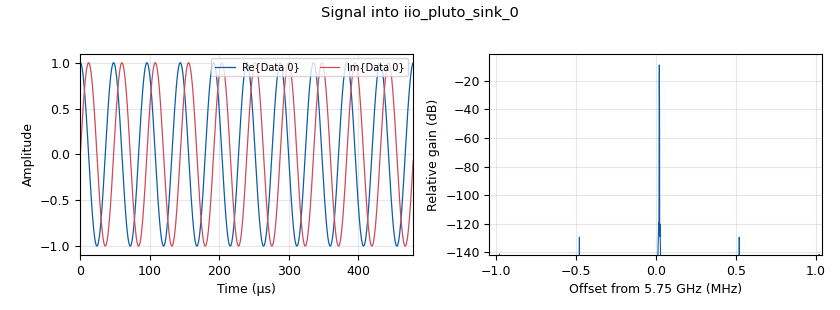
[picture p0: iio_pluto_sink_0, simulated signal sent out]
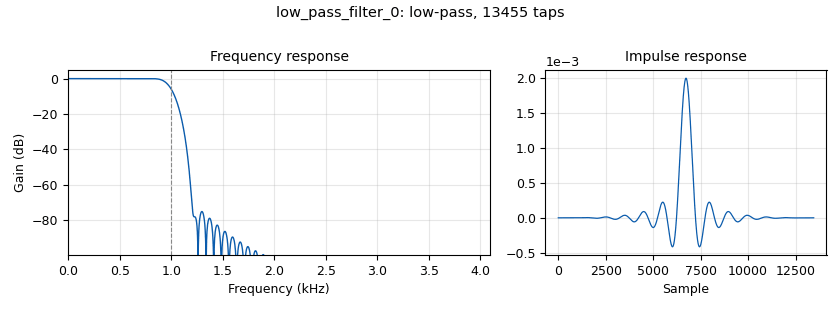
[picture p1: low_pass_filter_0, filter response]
options:
  parameters:
    generate_options: qt_gui
    id: top_block
    output_language: python
  states: {}

blocks:
- name: decim
  id: variable
  parameters:
    value: '2048'
  states: {}
- name: fft_size
  id: variable
  parameters:
    value: '2048'
  states: {}
- name: samp_rate
  id: variable
  parameters:
    value: '1000000'
  states: {}
- name: analog_agc_xx_0
  id: analog_agc_xx
  parameters:
    gain: '1.0'
    max_gain: '65536'
    rate: '1e-4'
    reference: '1.0'
    type: complex
  states: {}
- name: analog_agc_xx_0_0
  id: analog_agc_xx
  parameters:
    gain: '1.0'
    max_gain: '65536'
    rate: '1e-4'
    reference: '1.0'
    type: complex
  states: {}
- name: analog_sig_source_x_0
  id: analog_sig_source_x
  parameters:
    amp: '1'
    freq: 10e3
    offset: '0'
    phase: '0'
    samp_rate: samp_rate
    type: complex
    waveform: analog.GR_COS_WAVE
  states: {}
- name: blocks_complex_to_mag_0
  id: blocks_complex_to_mag
  parameters:
    vlen: fft_size
  states: {}
- name: blocks_complex_to_real_0
  id: blocks_complex_to_real
  parameters: {}
  states: {}
- name: blocks_complex_to_real_0_0
  id: blocks_complex_to_real
  parameters: {}
  states: {}
- name: blocks_complex_to_real_0_1
  id: blocks_complex_to_real
  parameters: {}
  states: {state: disabled}
- name: blocks_moving_average_xx_0
  id: blocks_moving_average_xx
  parameters:
    length: '1000'
    max_iter: '4000'
    scale: '1e-3'
    type: float
  states: {state: disabled}
- name: blocks_multiply_conjugate_cc_0
  id: blocks_multiply_conjugate_cc
  parameters: {}
  states: {}
- name: blocks_nlog10_ff_0
  id: blocks_nlog10_ff
  parameters:
    k: '0'
    n: '10.0'
    vlen: fft_size
  states: {}
- name: blocks_stream_to_vector_0
  id: blocks_stream_to_vector
  parameters:
    num_items: fft_size
    type: complex
  states: {}
- name: blocks_vector_to_stream_0
  id: blocks_vector_to_stream
  parameters:
    num_items: fft_size
    type: float
  states: {}
- name: fft_vxx_0_0_0
  id: fft_vxx
  parameters:
    fft_size: fft_size
    forward: 'False'
    nthreads: '16'
    shift: 'True'
    type: complex
    window: window.blackmanharris(fft_size)
  states: {}
- name: iio_pluto_sink_0
  id: iio_pluto_sink
  parameters:
    attenuation1: '30'
    auto_filter: 'True'
    bandwidth: '20000000'
    buffer_size: '32768'
    cyclic: 'False'
    frequency: '5750000000'
    samplerate: '2084000'
  states: {}
- name: iio_pluto_source_0
  id: iio_pluto_source
  parameters:
    auto_filter: 'True'
    bandwidth: '20000000'
    bbdc: 'True'
    buffer_size: '32768'
    frequency: '5750000000'
    gain1: '''manual'''
    manual_gain1: '50'
    quadrature: 'True'
    rfdc: 'True'
    samplerate: '2084000'
  states: {}
- name: low_pass_filter_0
  id: low_pass_filter
  parameters:
    cutoff_freq: '1000'
    decim: decim
    gain: '1'
    samp_rate: samp_rate
    type: fir_filter_ccf
    width: '250'
    win: firdes.WIN_BLACKMAN
  states: {}
- name: qtgui_number_sink_0_0
  id: qtgui_number_sink
  parameters:
    graph_type: qtgui.NUM_GRAPH_NONE
    name: Multiply Conjugate
    type: float
  states: {state: disabled}
- name: qtgui_time_raster_sink_x_0
  id: qtgui_time_raster_sink_x
  parameters:
    name: '"Mag"'
    ncols: fft_size
    nrows: '128'
    samp_rate: samp_rate
    type: float
    zmax: '30'
    zmin: '-30'
  states: {}
- name: qtgui_time_sink_x_0
  id: qtgui_time_sink_x
  parameters:
    label1: ''
    label2: ''
    nconnections: '2'
    size: '1024'
    srate: samp_rate
    tr_mode: qtgui.TRIG_MODE_AUTO
    type: float
  states: {}
- name: qtgui_time_sink_x_1
  id: qtgui_time_sink_x
  parameters:
    label1: ''
    size: '1024'
    srate: samp_rate
    type: float
  states: {state: disabled}
- name: qtgui_waterfall_sink_x_0
  id: qtgui_waterfall_sink_x
  parameters:
    bw: samp_rate/decim
    fc: '0'
    fftsize: fft_size
    showports: 'True'
    type: complex
    update_time: '1'
    wintype: firdes.WIN_BLACKMAN_hARRIS
  states: {}

connections:
- [analog_agc_xx_0, '0', blocks_complex_to_real_0, '0']
- [analog_agc_xx_0, '0', blocks_multiply_conjugate_cc_0, '0']
- [analog_agc_xx_0_0, '0', blocks_complex_to_real_0_0, '0']
- [analog_agc_xx_0_0, '0', blocks_multiply_conjugate_cc_0, '1']
- [analog_sig_source_x_0, '0', analog_agc_xx_0, '0']
- [analog_sig_source_x_0, '0', iio_pluto_sink_0, '0']
- [blocks_complex_to_mag_0, '0', blocks_nlog10_ff_0, '0']
- [blocks_complex_to_real_0, '0', qtgui_time_sink_x_0, '0']
- [blocks_complex_to_real_0_0, '0', qtgui_time_sink_x_0, '1']
- [blocks_complex_to_real_0_1, '0', blocks_moving_average_xx_0, '0']
- [blocks_moving_average_xx_0, '0', qtgui_number_sink_0_0, '0']
- [blocks_moving_average_xx_0, '0', qtgui_time_sink_x_1, '0']
- [blocks_multiply_conjugate_cc_0, '0', blocks_complex_to_real_0_1, '0']
- [blocks_multiply_conjugate_cc_0, '0', low_pass_filter_0, '0']
- [blocks_nlog10_ff_0, '0', blocks_vector_to_stream_0, '0']
- [blocks_stream_to_vector_0, '0', fft_vxx_0_0_0, '0']
- [blocks_vector_to_stream_0, '0', qtgui_time_raster_sink_x_0, '0']
- [fft_vxx_0_0_0, '0', blocks_complex_to_mag_0, '0']
- [iio_pluto_source_0, '0', analog_agc_xx_0_0, '0']
- [low_pass_filter_0, '0', blocks_stream_to_vector_0, '0']
- [low_pass_filter_0, '0', qtgui_waterfall_sink_x_0, '0']

metadata:
  file_format: 1
